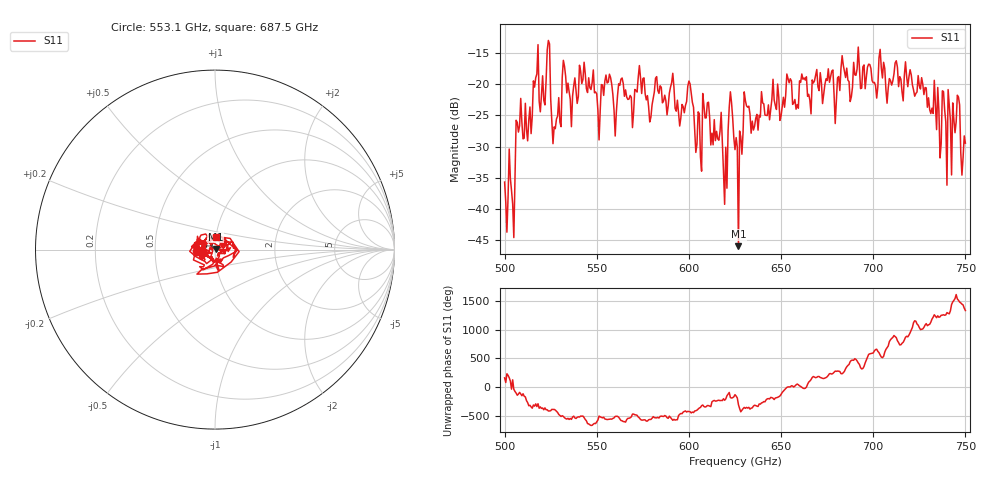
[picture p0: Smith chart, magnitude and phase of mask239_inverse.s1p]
!Created with skrf (http://scikit-rf.org).
# GHz S MA R 50.0
!freq magS11 angS11
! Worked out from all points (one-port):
!   401 points, 500 GHz to 750 GHz, reference 50 ohm
!   lowest |S11| = -45.9 dB at 626.9 GHz (marker M1), VSWR 1.01, Z = 50.3 + j0.41 ohm
!   |S11| at or under -10 dB: start of sweep to end of sweep
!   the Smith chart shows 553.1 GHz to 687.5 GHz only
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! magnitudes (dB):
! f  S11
! 500 GHz  -35.7
! 504.4 GHz  -39.2
! 507.5 GHz  -27.7
! 513.8 GHz  -23.6
! 516.9 GHz  -19.0
! 520.6 GHz  -18.6
! 523.8 GHz  -13.0
! 526.9 GHz  -26.8
! 531.2 GHz  -18.9
! 541.9 GHz  -19.9
! 550.6 GHz  -24.2
! 556.2 GHz  -19.7
! 560 GHz  -28.3
! 562.5 GHz  -20.2
! 593.8 GHz  -22.6
! 600.6 GHz  -19.9
! 605.6 GHz  -24.7
! 608.8 GHz  -25.4
! 619.4 GHz  -39.2
! 622.5 GHz  -21.2
! 625 GHz  -30.5
! 626.9 GHz  -45.9
! 631.2 GHz  -23.5
! 635 GHz  -27.3
! 656.2 GHz  -23.2
! 687.5 GHz  -22.8
! 718.8 GHz  -20.4
! 750 GHz  -29.4
